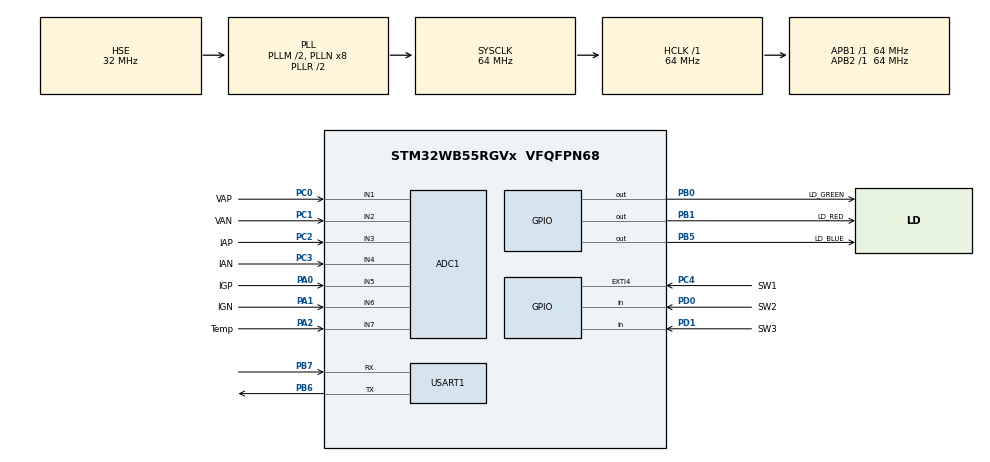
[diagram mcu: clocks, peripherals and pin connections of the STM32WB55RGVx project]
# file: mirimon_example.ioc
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ADC1.Channel-0\#ChannelRegularConversion=ADC_CHANNEL_1
ADC1.NbrOfConversionFlag=1
ADC1.OffsetNumber-0\#ChannelRegularConversion=ADC_OFFSET_NONE
ADC1.Rank-0\#ChannelRegularConversion=1
ADC1.SamplingTime-0\#ChannelRegularConversion=ADC_SAMPLETIME_2CYCLES_5
ADC1.SingleDiff-0\#ChannelRegularConversion=ADC_DIFFERENTIAL_ENDED
ADC1.master=1
Dma.Request0=USART1_RX
Dma.Request1=USART1_TX
Dma.USART1_RX.0.Direction=DMA_PERIPH_TO_MEMORY
Dma.USART1_RX.0.EventEnable=DISABLE
Dma.USART1_RX.0.Instance=DMA1_Channel1
Dma.USART1_RX.0.MemDataAlignment=DMA_MDATAALIGN_BYTE
Dma.USART1_RX.0.MemInc=DMA_MINC_ENABLE
Dma.USART1_RX.0.Mode=DMA_NORMAL
Dma.USART1_RX.0.PeriphDataAlignment=DMA_PDATAALIGN_BYTE
Dma.USART1_RX.0.PeriphInc=DMA_PINC_DISABLE
Dma.USART1_RX.0.Polarity=HAL_DMAMUX_REQ_GEN_RISING
Dma.USART1_RX.0.Priority=DMA_PRIORITY_LOW
Dma.USART1_RX.0.RequestNumber=1
Dma.USART1_RX.0.SignalID=NONE
Dma.USART1_RX.0.SyncEnable=DISABLE
Dma.USART1_RX.0.SyncPolarity=HAL_DMAMUX_SYNC_NO_EVENT
Dma.USART1_RX.0.SyncRequestNumber=1
Dma.USART1_RX.0.SyncSignalID=NONE
Dma.USART1_TX.1.Direction=DMA_MEMORY_TO_PERIPH
Dma.USART1_TX.1.EventEnable=DISABLE
Dma.USART1_TX.1.Instance=DMA1_Channel2
Dma.USART1_TX.1.MemDataAlignment=DMA_MDATAALIGN_BYTE
Dma.USART1_TX.1.MemInc=DMA_MINC_ENABLE
Dma.USART1_TX.1.Mode=DMA_NORMAL
Dma.USART1_TX.1.PeriphDataAlignment=DMA_PDATAALIGN_BYTE
Dma.USART1_TX.1.PeriphInc=DMA_PINC_DISABLE
Dma.USART1_TX.1.Polarity=HAL_DMAMUX_REQ_GEN_RISING
Dma.USART1_TX.1.Priority=DMA_PRIORITY_LOW
Dma.USART1_TX.1.RequestNumber=1
Dma.USART1_TX.1.SignalID=NONE
Dma.USART1_TX.1.SyncEnable=DISABLE
Dma.USART1_TX.1.SyncPolarity=HAL_DMAMUX_SYNC_NO_EVENT
Dma.USART1_TX.1.SyncRequestNumber=1
Dma.USART1_TX.1.SyncSignalID=NONE
Mcu.Family=STM32WB
Mcu.Name=STM32WB55RGVx
Mcu.Package=VFQFPN68
NVIC.DMA1_Channel1_IRQn=true\:0\:0\:false\:false\:true\:false\:true
NVIC.DMA1_Channel2_IRQn=true\:0\:0\:false\:false\:true\:false\:true
NVIC.EXTI4_IRQn=true\:0\:0\:false\:false\:true\:true\:true
NVIC.HSEM_IRQn=true\:0\:0\:false\:false\:true\:false\:true
NVIC.PriorityGroup=NVIC_PRIORITYGROUP_4
NVIC.USART1_IRQn=true\:0\:0\:false\:false\:true\:true\:true
OSC_IN.Mode=HSE-External-Oscillator
OSC_IN.Signal=RCC_OSC_IN
OSC_OUT.Mode=HSE-External-Oscillator
OSC_OUT.Signal=RCC_OSC_OUT
PA0.GPIO_Label=IGP
PA0.Signal=ADCx_IN5
PA1.GPIO_Label=IGN
PA1.Signal=ADCx_IN6
PA13.Mode=Serial_Wire
PA13.Signal=SYS_JTMS-SWDIO
PA14.Mode=Serial_Wire
PA14.Signal=SYS_JTCK-SWCLK
PA2.GPIO_Label=Temp
PA2.Signal=ADCx_IN7
PB0.GPIO_Label=LD_GREEN
PB0.Signal=GPIO_Output
PB1.GPIO_Label=LD_RED
PB1.Signal=GPIO_Output
PB5.GPIO_Label=LD_BLUE
PB5.Signal=GPIO_Output
PB6.Mode=Asynchronous
PB6.Signal=USART1_TX
PB7.Mode=Asynchronous
PB7.Signal=USART1_RX
PC0.GPIO_Label=VAP
PC0.Signal=ADCx_IN1
PC1.GPIO_Label=VAN
PC1.Signal=ADCx_IN2
PC14-OSC32_IN.Mode=LSE-External-Oscillator
PC14-OSC32_IN.Signal=RCC_OSC32_IN
PC15-OSC32_OUT.Mode=LSE-External-Oscillator
PC15-OSC32_OUT.Signal=RCC_OSC32_OUT
PC2.GPIO_Label=IAP
PC2.Signal=ADCx_IN3
PC3.GPIO_Label=IAN
PC3.Signal=ADCx_IN4
PC4.GPIO_Label=SW1
PC4.Signal=GPXTI4
PD0.GPIO_Label=SW2
PD0.Signal=GPIO_Input
PD1.GPIO_Label=SW3
PD1.Signal=GPIO_Input
ProjectManager.HeapSize=0x200
ProjectManager.StackSize=0x400
ProjectManager.TargetToolchain=STM32CubeIDE
RCC.ADCFreq_Value=64000000
RCC.AHB2CLKDivider=RCC_SYSCLK_DIV2
RCC.AHBFreq_Value=64000000
RCC.APB1Freq_Value=64000000
RCC.APB1TimFreq_Value=64000000
RCC.APB2Freq_Value=64000000
RCC.APB2TimFreq_Value=64000000
RCC.APB3Freq_Value=16000000
RCC.CortexFreq_Value=64000000
RCC.HCLKFreq_Value=64000000
RCC.HSE_VALUE=32000000
RCC.HSI48_VALUE=48000000
RCC.HSI_VALUE=16000000
RCC.PLLM=RCC_PLLM_DIV2
RCC.PLLSourceVirtual=RCC_PLLSOURCE_HSE
RCC.RFWKPClockSelection=RCC_RFWKPCLKSOURCE_LSE
RCC.RTCClockSelection=RCC_RTCCLKSOURCE_LSE
RCC.SMPSDivider=1
RCC.SYSCLKFreq_VALUE=64000000
RCC.SYSCLKSource=RCC_SYSCLKSOURCE_PLLCLK
RCC.USBFreq_Value=64000000
RCC.VCOOutputFreq_Value=128000000
RF1.Mode=RF1_Activate
RF1.Signal=RF_RF1
SH.ADCx_IN1.0=ADC1_IN1,IN1-Differential
SH.ADCx_IN2.0=ADC1_IN2,IN1-Differential
SH.ADCx_IN3.0=ADC1_IN3,IN3-Differential
SH.ADCx_IN4.0=ADC1_IN4,IN3-Differential
SH.ADCx_IN5.0=ADC1_IN5,IN5-Differential
SH.ADCx_IN6.0=ADC1_IN6,IN5-Differential
SH.ADCx_IN7.0=ADC1_IN7,IN7-Single-Ended
STM32_WPAN.BLE_APPLICATION_TYPE=BLE_ROUTER_PROFILE
STM32_WPAN.BLE_DBG_APP_EN=1
STM32_WPAN.CFG_DEBUGGER_SUPPORTED=1
STM32_WPAN.CFG_DEBUG_APP_TRACE=0
STM32_WPAN.CFG_DEBUG_BLE_TRACE=0
STM32_WPAN.CFG_DEBUG_TRACE_FULL=0
STM32_WPAN.CFG_DEBUG_TRACE_LIGHT=0
STM32_WPAN.CFG_HW_RESET_BY_FW=1
STM32_WPAN.CFG_HW_USART1_ENABLED=0
STM32_WPAN.CFG_LPM_SUPPORTED=1
STM32_WPAN.LOCAL_NAME=MRM3
STM32_WPAN.LOCAL_NAME_FORMATTED=,'M','R','M','3'
USART1.VirtualMode-Asynchronous=VM_ASYNC
VP_HSEM_VS_HSEM.Mode=HSEM_Activate
VP_RTC_VS_RTC_Activate.Mode=RTC_Enabled
VP_SEQUENCER_VS_SEQUENCER.Mode=SEQUENCER_Enabled
VP_STM32_WPAN_VS_BLE_HOST.Mode=STM32_WPAN_Enabled
VP_TINY_LPM_VS_TINY_LPM.Mode=TINY_LPM_Enabled
board=custom

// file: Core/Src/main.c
/* USER CODE BEGIN Header */
/**
  ******************************************************************************
  * @file           : main.c
  * @brief          : Main program body
  ******************************************************************************
  * @attention
  *
  * <h2><center>&copy; Copyright (c) 2021 STMicroelectronics.
  * All rights reserved.</center></h2>
  *
  * This software component is licensed by ST under BSD 3-Clause license,
  * the "License"; You may not use this file except in compliance with the
  * License. You may obtain a copy of the License at:
  *                        opensource.org/licenses/BSD-3-Clause
  *
  ******************************************************************************
  */
/* USER CODE END Header */
#include "main.h"
#include "app_entry.h"
#include "app_common.h"

/* USER CODE BEGIN Includes */
#include "stm32_lpm.h"
#include "stm32_seq.h"
#include "dbg_trace.h"
#include "hw_conf.h"
#include "otp.h"
/* USER CODE END Includes */

ADC_HandleTypeDef hadc1;

RTC_HandleTypeDef hrtc;

UART_HandleTypeDef huart1;
DMA_HandleTypeDef hdma_usart1_rx;
DMA_HandleTypeDef hdma_usart1_tx;

void SystemClock_Config(void);
static void MX_GPIO_Init(void);
static void MX_DMA_Init(void);
static void MX_ADC1_Init(void);
static void MX_RF_Init(void);
static void MX_RTC_Init(void);
static void MX_USART1_UART_Init(void);
/* USER CODE BEGIN PFP */
static void Reset_Device( void );
static void Reset_IPCC( void );
static void Reset_BackupDomain( void );
static void Config_HSE(void);
/* USER CODE END PFP */

int main(void)
{
  /* USER CODE BEGIN 1 */

	  /**
	   * The OPTVERR flag is wrongly set at power on
	   * It shall be cleared before using any HAL_FLASH_xxx() api
	   */
	  __HAL_FLASH_CLEAR_FLAG(FLASH_FLAG_OPTVERR);

  /* USER CODE END 1 */

  /* MCU Configuration--------------------------------------------------------*/

  /* Reset of all peripherals, Initializes the Flash interface and the Systick. */
  HAL_Init();

  /* USER CODE BEGIN Init */
  Reset_Device();
  Config_HSE();
  /* USER CODE END Init */

  /* Configure the system clock */
  SystemClock_Config();

  /* Initialize all configured peripherals */
  MX_GPIO_Init();
  MX_DMA_Init();
  MX_ADC1_Init();
  MX_RF_Init();
  MX_RTC_Init();
  MX_USART1_UART_Init();

  /* Init code for STM32_WPAN */
  APPE_Init();
  /* Infinite loop */
  /* USER CODE BEGIN WHILE */
  while (1)
  {
	  UTIL_SEQ_Run( UTIL_SEQ_DEFAULT );
    /* USER CODE END WHILE */

  }
}

void SystemClock_Config(void)
{
  RCC_OscInitTypeDef RCC_OscInitStruct = {0};
  RCC_ClkInitTypeDef RCC_ClkInitStruct = {0};
  RCC_PeriphCLKInitTypeDef PeriphClkInitStruct = {0};

  /** Configure LSE Drive Capability
  */
  HAL_PWR_EnableBkUpAccess();
  __HAL_RCC_LSEDRIVE_CONFIG(RCC_LSEDRIVE_LOW);
  /** Configure the main internal regulator output voltage
  */
  __HAL_PWR_VOLTAGESCALING_CONFIG(PWR_REGULATOR_VOLTAGE_SCALE1);
  /** Initializes the RCC Oscillators according to the specified parameters
  * in the RCC_OscInitTypeDef structure.
  */
  RCC_OscInitStruct.OscillatorType = RCC_OSCILLATORTYPE_HSI|RCC_OSCILLATORTYPE_HSE
                              |RCC_OSCILLATORTYPE_LSE;
  RCC_OscInitStruct.HSEState = RCC_HSE_ON;
  RCC_OscInitStruct.LSEState = RCC_LSE_ON;
  RCC_OscInitStruct.HSIState = RCC_HSI_ON;
  RCC_OscInitStruct.HSICalibrationValue = RCC_HSICALIBRATION_DEFAULT;
  RCC_OscInitStruct.PLL.PLLState = RCC_PLL_ON;
  RCC_OscInitStruct.PLL.PLLSource = RCC_PLLSOURCE_HSE;
  RCC_OscInitStruct.PLL.PLLM = RCC_PLLM_DIV2;
  RCC_OscInitStruct.PLL.PLLN = 8;
  RCC_OscInitStruct.PLL.PLLP = RCC_PLLP_DIV2;
  RCC_OscInitStruct.PLL.PLLR = RCC_PLLR_DIV2;
  RCC_OscInitStruct.PLL.PLLQ = RCC_PLLQ_DIV2;
  if (HAL_RCC_OscConfig(&RCC_OscInitStruct) != HAL_OK)
  {
    Error_Handler();
  }
  /** Configure the SYSCLKSource, HCLK, PCLK1 and PCLK2 clocks dividers
  */
  RCC_ClkInitStruct.ClockType = RCC_CLOCKTYPE_HCLK4|RCC_CLOCKTYPE_HCLK2
                              |RCC_CLOCKTYPE_HCLK|RCC_CLOCKTYPE_SYSCLK
                              |RCC_CLOCKTYPE_PCLK1|RCC_CLOCKTYPE_PCLK2;
  RCC_ClkInitStruct.SYSCLKSource = RCC_SYSCLKSOURCE_PLLCLK;
  RCC_ClkInitStruct.AHBCLKDivider = RCC_SYSCLK_DIV1;
  RCC_ClkInitStruct.APB1CLKDivider = RCC_HCLK_DIV1;
  RCC_ClkInitStruct.APB2CLKDivider = RCC_HCLK_DIV1;
  RCC_ClkInitStruct.AHBCLK2Divider = RCC_SYSCLK_DIV2;
  RCC_ClkInitStruct.AHBCLK4Divider = RCC_SYSCLK_DIV1;

  if (HAL_RCC_ClockConfig(&RCC_ClkInitStruct, FLASH_LATENCY_3) != HAL_OK)
  {
    Error_Handler();
  }
  /** Initializes the peripherals clocks
  */
  PeriphClkInitStruct.PeriphClockSelection = RCC_PERIPHCLK_SMPS|RCC_PERIPHCLK_RFWAKEUP
                              |RCC_PERIPHCLK_RTC|RCC_PERIPHCLK_USART1
                              |RCC_PERIPHCLK_ADC;
  PeriphClkInitStruct.PLLSAI1.PLLN = 8;
  PeriphClkInitStruct.PLLSAI1.PLLP = RCC_PLLP_DIV2;
  PeriphClkInitStruct.PLLSAI1.PLLQ = RCC_PLLQ_DIV2;
  PeriphClkInitStruct.PLLSAI1.PLLR = RCC_PLLR_DIV2;
  PeriphClkInitStruct.PLLSAI1.PLLSAI1ClockOut = RCC_PLLSAI1_ADCCLK;
  PeriphClkInitStruct.Usart1ClockSelection = RCC_USART1CLKSOURCE_PCLK2;
  PeriphClkInitStruct.AdcClockSelection = RCC_ADCCLKSOURCE_PLLSAI1;
  PeriphClkInitStruct.RTCClockSelection = RCC_RTCCLKSOURCE_LSE;
  PeriphClkInitStruct.RFWakeUpClockSelection = RCC_RFWKPCLKSOURCE_LSE;
  PeriphClkInitStruct.SmpsClockSelection = RCC_SMPSCLKSOURCE_HSI;
  PeriphClkInitStruct.SmpsDivSelection = RCC_SMPSCLKDIV_RANGE0;
  if (HAL_RCCEx_PeriphCLKConfig(&PeriphClkInitStruct) != HAL_OK)
  {
    Error_Handler();
  }
  /* USER CODE BEGIN Smps */

#if (CFG_USE_SMPS != 0)
  /**
   *  Configure and enable SMPS
   *
   *  The SMPS configuration is not yet supported by CubeMx
   *  when SMPS output voltage is set to 1.4V, the RF output power is limited to 3.7dBm
   *  the SMPS output voltage shall be increased for higher RF output power
   */
  LL_PWR_SMPS_SetStartupCurrent(LL_PWR_SMPS_STARTUP_CURRENT_80MA);
  LL_PWR_SMPS_SetOutputVoltageLevel(LL_PWR_SMPS_OUTPUT_VOLTAGE_1V40);
  LL_PWR_SMPS_Enable();
#endif
  /* USER CODE END Smps */
}

static void MX_ADC1_Init(void)
{

  ADC_ChannelConfTypeDef sConfig = {0};

  /** Common config
  */
  hadc1.Instance = ADC1;
  hadc1.Init.ClockPrescaler = ADC_CLOCK_ASYNC_DIV1;
  hadc1.Init.Resolution = ADC_RESOLUTION_12B;
  hadc1.Init.DataAlign = ADC_DATAALIGN_RIGHT;
  hadc1.Init.ScanConvMode = ADC_SCAN_DISABLE;
  hadc1.Init.EOCSelection = ADC_EOC_SINGLE_CONV;
  hadc1.Init.LowPowerAutoWait = DISABLE;
  hadc1.Init.ContinuousConvMode = DISABLE;
  hadc1.Init.NbrOfConversion = 1;
  hadc1.Init.DiscontinuousConvMode = DISABLE;
  hadc1.Init.ExternalTrigConv = ADC_SOFTWARE_START;
  hadc1.Init.ExternalTrigConvEdge = ADC_EXTERNALTRIGCONVEDGE_NONE;
  hadc1.Init.DMAContinuousRequests = DISABLE;
  hadc1.Init.Overrun = ADC_OVR_DATA_PRESERVED;
  hadc1.Init.OversamplingMode = DISABLE;
  if (HAL_ADC_Init(&hadc1) != HAL_OK)
  {
    Error_Handler();
  }
  /** Configure Regular Channel
  */
  sConfig.Channel = ADC_CHANNEL_1;
  sConfig.Rank = ADC_REGULAR_RANK_1;
  sConfig.SamplingTime = ADC_SAMPLETIME_2CYCLES_5;
  sConfig.SingleDiff = ADC_DIFFERENTIAL_ENDED;
  sConfig.OffsetNumber = ADC_OFFSET_NONE;
  sConfig.Offset = 0;
  if (HAL_ADC_ConfigChannel(&hadc1, &sConfig) != HAL_OK)
  {
    Error_Handler();
  }

}

static void MX_RF_Init(void)
{

}

static void MX_RTC_Init(void)
{

  /** Initialize RTC Only
  */
  hrtc.Instance = RTC;
  hrtc.Init.HourFormat = RTC_HOURFORMAT_24;
  hrtc.Init.AsynchPrediv = CFG_RTC_ASYNCH_PRESCALER;
  hrtc.Init.SynchPrediv = CFG_RTC_SYNCH_PRESCALER;
  hrtc.Init.OutPut = RTC_OUTPUT_DISABLE;
  hrtc.Init.OutPutPolarity = RTC_OUTPUT_POLARITY_HIGH;
  hrtc.Init.OutPutType = RTC_OUTPUT_TYPE_OPENDRAIN;
  hrtc.Init.OutPutRemap = RTC_OUTPUT_REMAP_NONE;
  if (HAL_RTC_Init(&hrtc) != HAL_OK)
  {
    Error_Handler();
  }
  /* USER CODE BEGIN RTC_Init 2 */
  /* Disable RTC registers write protection */
  LL_RTC_DisableWriteProtection(RTC);

  LL_RTC_WAKEUP_SetClock(RTC, CFG_RTC_WUCKSEL_DIVIDER);

  /* Enable RTC registers write protection */
  LL_RTC_EnableWriteProtection(RTC);
  /* USER CODE END RTC_Init 2 */

}

static void MX_USART1_UART_Init(void)
{

  huart1.Instance = USART1;
  huart1.Init.BaudRate = 115200;
  huart1.Init.WordLength = UART_WORDLENGTH_8B;
  huart1.Init.StopBits = UART_STOPBITS_1;
  huart1.Init.Parity = UART_PARITY_NONE;
  huart1.Init.Mode = UART_MODE_TX_RX;
  huart1.Init.HwFlowCtl = UART_HWCONTROL_NONE;
  huart1.Init.OverSampling = UART_OVERSAMPLING_16;
  huart1.Init.OneBitSampling = UART_ONE_BIT_SAMPLE_DISABLE;
  huart1.Init.ClockPrescaler = UART_PRESCALER_DIV1;
  huart1.AdvancedInit.AdvFeatureInit = UART_ADVFEATURE_NO_INIT;
  if (HAL_UART_Init(&huart1) != HAL_OK)
  {
    Error_Handler();
  }
  if (HAL_UARTEx_SetTxFifoThreshold(&huart1, UART_TXFIFO_THRESHOLD_1_8) != HAL_OK)
  {
    Error_Handler();
  }
  if (HAL_UARTEx_SetRxFifoThreshold(&huart1, UART_RXFIFO_THRESHOLD_1_8) != HAL_OK)
  {
    Error_Handler();
  }
  if (HAL_UARTEx_DisableFifoMode(&huart1) != HAL_OK)
  {
    Error_Handler();
  }

}

static void MX_DMA_Init(void)
{

  /* DMA controller clock enable */
  __HAL_RCC_DMAMUX1_CLK_ENABLE();
  __HAL_RCC_DMA1_CLK_ENABLE();

  /* DMA interrupt init */
  /* DMA1_Channel1_IRQn interrupt configuration */
  HAL_NVIC_SetPriority(DMA1_Channel1_IRQn, 0, 0);
  HAL_NVIC_EnableIRQ(DMA1_Channel1_IRQn);
  /* DMA1_Channel2_IRQn interrupt configuration */
  HAL_NVIC_SetPriority(DMA1_Channel2_IRQn, 0, 0);
  HAL_NVIC_EnableIRQ(DMA1_Channel2_IRQn);

}

static void MX_GPIO_Init(void)
{
  GPIO_InitTypeDef GPIO_InitStruct = {0};

  /* GPIO Ports Clock Enable */
  __HAL_RCC_GPIOC_CLK_ENABLE();
  __HAL_RCC_GPIOA_CLK_ENABLE();
  __HAL_RCC_GPIOB_CLK_ENABLE();
  __HAL_RCC_GPIOD_CLK_ENABLE();

  /*Configure GPIO pin Output Level */
  HAL_GPIO_WritePin(GPIOB, LD_GREEN_Pin|LD_RED_Pin|LD_BLUE_Pin, GPIO_PIN_RESET);

  /*Configure GPIO pin : SW1_Pin */
  GPIO_InitStruct.Pin = SW1_Pin;
  GPIO_InitStruct.Mode = GPIO_MODE_IT_RISING;
  GPIO_InitStruct.Pull = GPIO_NOPULL;
  HAL_GPIO_Init(SW1_GPIO_Port, &GPIO_InitStruct);

  /*Configure GPIO pins : LD_GREEN_Pin LD_RED_Pin LD_BLUE_Pin */
  GPIO_InitStruct.Pin = LD_GREEN_Pin|LD_RED_Pin|LD_BLUE_Pin;
  GPIO_InitStruct.Mode = GPIO_MODE_OUTPUT_PP;
  GPIO_InitStruct.Pull = GPIO_NOPULL;
  GPIO_InitStruct.Speed = GPIO_SPEED_FREQ_LOW;
  HAL_GPIO_Init(GPIOB, &GPIO_InitStruct);

  /*Configure GPIO pins : SW2_Pin SW3_Pin */
  GPIO_InitStruct.Pin = SW2_Pin|SW3_Pin;
  GPIO_InitStruct.Mode = GPIO_MODE_INPUT;
  GPIO_InitStruct.Pull = GPIO_NOPULL;
  HAL_GPIO_Init(GPIOD, &GPIO_InitStruct);

  /* EXTI interrupt init*/
  HAL_NVIC_SetPriority(EXTI4_IRQn, 0, 0);
  HAL_NVIC_EnableIRQ(EXTI4_IRQn);

}

/* USER CODE BEGIN 4 */

static void Reset_Device( void )
{
#if ( CFG_HW_RESET_BY_FW == 1 )
	Reset_BackupDomain();

	Reset_IPCC();
#endif

	return;
}

static void Reset_IPCC( void )
{
	LL_AHB3_GRP1_EnableClock(LL_AHB3_GRP1_PERIPH_IPCC);

	LL_C1_IPCC_ClearFlag_CHx(
			IPCC,
			LL_IPCC_CHANNEL_1 | LL_IPCC_CHANNEL_2 | LL_IPCC_CHANNEL_3 | LL_IPCC_CHANNEL_4
			| LL_IPCC_CHANNEL_5 | LL_IPCC_CHANNEL_6);

	LL_C2_IPCC_ClearFlag_CHx(
			IPCC,
			LL_IPCC_CHANNEL_1 | LL_IPCC_CHANNEL_2 | LL_IPCC_CHANNEL_3 | LL_IPCC_CHANNEL_4
			| LL_IPCC_CHANNEL_5 | LL_IPCC_CHANNEL_6);

	LL_C1_IPCC_DisableTransmitChannel(
			IPCC,
			LL_IPCC_CHANNEL_1 | LL_IPCC_CHANNEL_2 | LL_IPCC_CHANNEL_3 | LL_IPCC_CHANNEL_4
			| LL_IPCC_CHANNEL_5 | LL_IPCC_CHANNEL_6);

	LL_C2_IPCC_DisableTransmitChannel(
			IPCC,
			LL_IPCC_CHANNEL_1 | LL_IPCC_CHANNEL_2 | LL_IPCC_CHANNEL_3 | LL_IPCC_CHANNEL_4
			| LL_IPCC_CHANNEL_5 | LL_IPCC_CHANNEL_6);

	LL_C1_IPCC_DisableReceiveChannel(
			IPCC,
			LL_IPCC_CHANNEL_1 | LL_IPCC_CHANNEL_2 | LL_IPCC_CHANNEL_3 | LL_IPCC_CHANNEL_4
			| LL_IPCC_CHANNEL_5 | LL_IPCC_CHANNEL_6);

	LL_C2_IPCC_DisableReceiveChannel(
			IPCC,
			LL_IPCC_CHANNEL_1 | LL_IPCC_CHANNEL_2 | LL_IPCC_CHANNEL_3 | LL_IPCC_CHANNEL_4
			| LL_IPCC_CHANNEL_5 | LL_IPCC_CHANNEL_6);

	return;
}

static void Reset_BackupDomain( void )
{
	if ((LL_RCC_IsActiveFlag_PINRST() != FALSE) && (LL_RCC_IsActiveFlag_SFTRST() == FALSE))
	{
		HAL_PWR_EnableBkUpAccess(); /**< Enable access to the RTC registers */

		/**
		 *  Write twice the value to flush the APB-AHB bridge
		 *  This bit shall be written in the register before writing the next one
		 */
		HAL_PWR_EnableBkUpAccess();

		__HAL_RCC_BACKUPRESET_FORCE();
		__HAL_RCC_BACKUPRESET_RELEASE();
	}

	return;
}

static void Config_HSE(void)
{
    OTP_ID0_t * p_otp;

  /**
   * Read HSE_Tuning from OTP
   */
  p_otp = (OTP_ID0_t *) OTP_Read(0);
  if (p_otp)
  {
    LL_RCC_HSE_SetCapacitorTuning(p_otp->hse_tuning);
  }

  return;
}

void HAL_Delay(uint32_t Delay)
{
  uint32_t tickstart = HAL_GetTick();
  uint32_t wait = Delay;

  /* Add a freq to guarantee minimum wait */
  if (wait < HAL_MAX_DELAY)
  {
    wait += HAL_GetTickFreq();
  }

  while ((HAL_GetTick() - tickstart) < wait)
  {
    /************************************************************************************
     * ENTER SLEEP MODE
     ***********************************************************************************/
    LL_LPM_EnableSleep( ); /**< Clear SLEEPDEEP bit of Cortex System Control Register */

    /**
     * This option is used to ensure that store operations are completed
     */
  #if defined ( __CC_ARM)
    __force_stores();
  #endif

    __WFI( );
  }
}

/* USER CODE END 4 */

void Error_Handler(void)
{
  __disable_irq();
  while (1)
  {
  }
}

/************************ (C) COPYRIGHT STMicroelectronics *****END OF FILE****/
